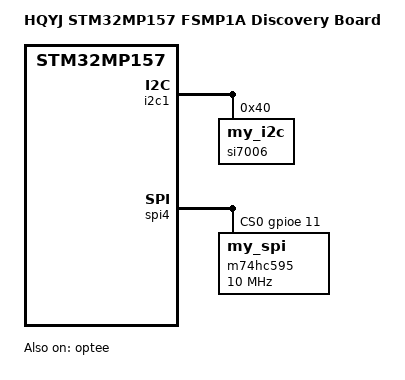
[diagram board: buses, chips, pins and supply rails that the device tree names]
// SPDX-License-Identifier: (GPL-2.0+ OR BSD-3-Clause)
/*
 * Copyright (C) STMicroelectronics 2019 - All Rights Reserved
 * Author: Alexandre Torgue <alexandre.torgue@st.com> for STMicroelectronics.
 */

/dts-v1/;

#include "stm32mp157.dtsi"
#include "stm32mp15xa.dtsi"
#include "stm32mp15-pinctrl.dtsi"
#include "stm32mp15xxaa-pinctrl.dtsi"
#include "stm32mp15xx-fsmp1x.dtsi"
/ {
	model = "HQYJ STM32MP157 FSMP1A Discovery Board";
	compatible = "st,stm32mp157a-fsmp1a", "st,stm32mp157";

	aliases {
		ethernet0 = &ethernet0;
		serial0 = &uart4;
		serial5 = &usart3;
	};

	chosen {
		stdout-path = "serial0:115200n8";
	};

	reserved-memory {
		gpu_reserved: gpu@da000000 {
			reg = <0xda000000 0x4000000>;
			no-map;
		};

		optee_memory: optee@0xde000000 {
			reg = <0xde000000 0x02000000>;
			no-map;
		};
	};

	myled{
		led1=<&gpioe 10 0>;
		led2=<&gpiof 10 0>;
		led3=<&gpioe 8 0>;
	};

	myirqs{
		interrupt-parent = <&gpiof>;
		interrupts = <9 0>,<7 0>,<8 0>;
		keys=<&gpiof 9 0>,<&gpiof 7 0>,<&gpiof 8 0>;
		led1=<&gpioe 10 0>;
		led2=<&gpiof 10 0>;
		led3=<&gpioe 8 0>;
	};

	myplatform{
		compatible = "myplatform";
		interrupt-parent = <&gpiof>;
		interrupts =<9 0>;
		reg=<0x12345678 0x1E>;
		led1=<&gpioe 10 0>;
		keys=<&gpiof 9 0>,<&gpiof 7 0>,<&gpiof 8 0>;
	
	};

	smart_home_platform{
		compatible = "my_platform";
		interrupt-parent = <&gpiof>;
		interrupts =<9 0>;
		reg=<0x12345678 0x1E>;
		led1=<&gpioe 10 0>;
		bee=<&gpiob 6 0>;
		keys=<&gpiof 9 0>,<&gpiof 7 0>,<&gpiof 8 0>;
	
	};

	my_bee{
		compatible = "my_bee";
		interrupt-parent = <&gpiof>;
		interrupts =<9 0>;
		reg=<0x12345678 0x1E>;
		led1=<&gpioe 10 0>;
		bee=<&gpiob 6 0>;
		keys=<&gpiof 9 0>,<&gpiof 7 0>,<&gpiof 8 0>;
	
	};


};

&i2c1{
	pinctrl-names = "default";
    pinctrl-0 = <&i2c1_pins_b>;
    i2c-scl-rising-time-ns = <100>;
    i2c-scl-falling-time-ns = <7>;
    status = "okay";
    /delete-property/dmas;      
    /delete-property/dma-names;

    si7006@40{
        compatible = "my_i2c";
        reg = <0x40>;
    };
};

&spi4{
    pinctrl-names = "default";
    pinctrl-0 = <&spi4_pins_a>;
    cs-gpios = <&gpioe 11 0>;
    status = "okay";

    m74hc595@0{
        compatible = "my_spi";
        reg = <0>;
        spi-max-frequency = <10000000>; //10Mhz
    };
};

&optee {
	status = "okay";
};
